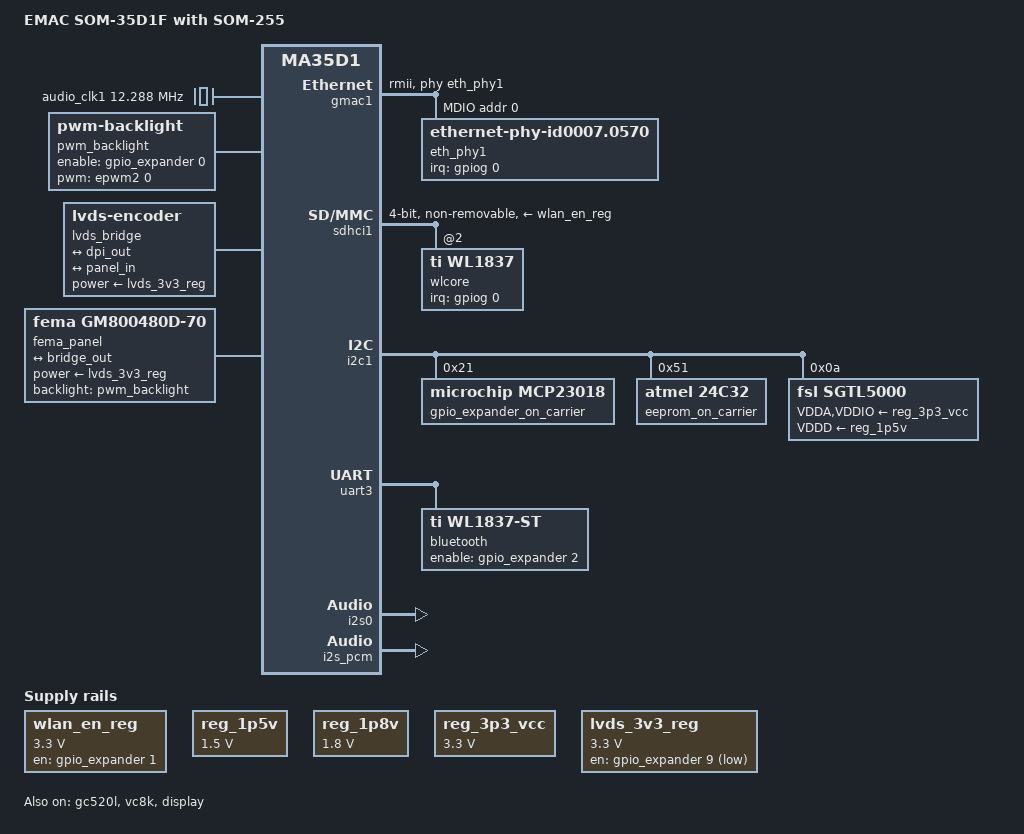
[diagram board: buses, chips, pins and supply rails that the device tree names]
// SPDX-License-Identifier: GPL-2.0-or-later
/*
 * som-35d1f-2xx.dts - Device Tree file for the SOM-35D1F w/ 2xx EMAC Carriers.
 *
 * Copyright (C) 2023 EMAC Inc.
 *
 */

/dts-v1/;
#include "som35d1f.dtsi"


/*
 remove the panel that they have upstream its driver is setup for compatible = "avic,tm070ddh03", "panel-dpi";
 so we delete and create the fema_panel below
 https://github.com/OpenNuvoton/MA35D1_linux-6.6.y/blob/master/arch/arm64/boot/dts/nuvoton/ma35d1.dtsi#L1733
*/
/delete-node/ &panel;

/ {
	model = "EMAC SOM-35D1F with SOM-255";
	compatible = "emac,som35d1f", "nuvoton,ma35d1";

	reserved-memory {
		display_buf: display_buf@0 {
			compatible = "shared-dma-pool";
			reg = <0x0 0x8C800000 0x0 0x3000000>; /* 48MiB */
			no-map;
		};
		vc8k_buf: vc8k_buf@0 {
			reg = <0x0 0x8A800000 0x0 0x2000000>; /* 32MiB */
			no-map;
		};
		gc520l_buf: gc520l_buf@0 {
			reg = <0x0 0x8A000000 0x0 0x800000>; /* 8MiB */
			no-map;
		};
		rproc_buf: rproc_buf@0 {
			reg = <0x0 0x80020000 0x0 0x60000>; /* 384KB */
			no-map;
		};
	};

	wlan_en_reg: fixedregulator {
		compatible = "regulator-fixed";
		regulator-name = "wlan-en-regulator";
		regulator-min-microvolt = <3300000>;
		regulator-max-microvolt = <3300000>;
		startup-delay-us = <70000>;
		gpio = <&gpio_expander 1 GPIO_ACTIVE_HIGH>;
		enable-active-high;
	};

	reg_1p5v: regulator0 {
		compatible = "regulator-fixed";
		regulator-name = "fixed-1.5V";
		regulator-min-microvolt = <1500000>;
		regulator-max-microvolt = <1500000>;
		regulator-boot-on;
		regulator-always-on;
	};

	reg_1p8v: regulator1 {
		compatible = "regulator-fixed";
		regulator-name = "fixed-1.8V";
		regulator-min-microvolt = <1800000>;
		regulator-max-microvolt = <1800000>;
		regulator-boot-on;
		regulator-always-on;
	};

	reg_3p3_vcc: regulator2 {
		compatible = "regulator-fixed";
		regulator-name = "fixed-3.3V";
		regulator-min-microvolt = <3300000>;
		regulator-max-microvolt = <3300000>;
		regulator-boot-on;
		regulator-always-on;
	};

	pcfg_wl1837: pcfg_wl1837 {
		slew-rate = <1>;        /* Normal slew rate (balanced speed/EMI) */
		input-schmitt-enable;   /* Enable Schmitt trigger for noise immunity */
		bias-disable;           /* No pull-up/pull-down (module handles biasing) */
		power-source = <3300>;  /* 3.3V I/O voltage (common for Bluetooth modules) */
		drive-strength = <7>;   /* Medium-high drive strength (adjust based on trace length) */
	};

	audio_clk1: audio_clk1 {
		compatible = "fixed-clock";
		#clock-cells = <0>;
		clock-frequency = <12288000>;
	};

	// The regulator for the bridge and panel.
	lvds_3v3_reg: fixedregulator {
		compatible = "regulator-fixed";
		regulator-name = "lvds-3v3-en-regulator";
		regulator-min-microvolt = <3300000>;
		regulator-max-microvolt = <3300000>;
		startup-delay-us = <70000>;
		gpio = <&gpio_expander 9 GPIO_ACTIVE_HIGH>;  // Issue this expanger lives on i2c which comes up after DRM
		// enable-active-high;
		regulator-always-on; // hack to test the regulators
		regulator-boot-on;   // hack to test the regulators
		status = "okay";
	};

	// The backlight.
	pwm_backlight: backlight {
		compatible = "pwm-backlight";
		brightness-levels = <0 1 2 3 4 5 6 7 8 9 10 11 12 13 14 15 16 17 18 19
		20 21 22 23 24 25 26 27 28 29 30 31 32 33 34 35 36 37 38 39 40 41 42
		43 44 45 46 47 48 49 50 51 52 53 54 55 56 57 58 59 60 61 62 63 64 65
		66 67 68 69 70 71 72 73 74 75 76 77 78 79 80 81 82 83 84 85 86 87 88
		89 90 91 92 93 94 95 96 97 98 99 100 101 102 103 104 105 106 107 108
		109 110 111 112 113 114 115 116 117 118 119 120 121 122 123 124 125
		126 127 128 129 130 131 132 133 134 135 136 137 138 139 140 141 142
		143 144 145 146 147 148 149 150 151 152 153 154 155 156 157 158 159
		160 161 162 163 164 165 166 167 168 169 170 171 172 173 174 175 176
		177 178 179 180 181 182 183 184 185 186 187 188 189 190 191 192 193
		194 195 196 197 198 199 200 201 202 203 204 205 206 207 208 209 210
		211 212 213 214 215 216 217 218 219 220 221 222 223 224 225 226 227
		228 229 230 231 232 233 234 235 236 237 238 239 240 241 242 243 244
		245 246 247 248 249 250 251 252 253 254 255
		>;
		default-brightness-level = <128>;
		pwms = <&epwm2 0 50000>;
		enable-gpios = <&gpio_expander 0 GPIO_ACTIVE_HIGH>; // again the i2c and race
		status = "okay";
	};

	// the bridge slash endcoder
	// Ref des: U13
	// Chip: sn65lvds84aq-q1
	// Datasheet: https://www.ti.com/lit/ds/symlink/sn65lvds84aq-q1.pdf
	// Note: The SN65LVDS84AQ datasheet says the transmitter loads D0–D20 on the falling edge of CLKIN; the setup/hold table also specifies data valid before and after CLKIN↓, with 3 ns setup and 1.5 ns hold.
	lvds_bridge: bridge-lvds {
		compatible = "lvds-encoder";
		power-supply = <&lvds_3v3_reg>;
		status = "okay";
		ports {
			#address-cells = <1>;
			#size-cells = <0>;
			port@0 {
				reg = <0>;
				bridge_in: endpoint {
					remote-endpoint = <&dpi_out>;
				};
			};
			port@1 {
				reg = <1>;
				bridge_out: endpoint {
					remote-endpoint = <&panel_in>;
				};
			};
		};
	};

	// This is the gm800480d-70 That I defined in simple panel
	// Refdes: HDR6
	// Chip: Fema GM800480D-70-TTX2NLW panel
	// datasheet -> https://femaelectronics.com/wp-content/uploads/datasheet/GM800480D-70-TTX2NLW-HTL.pdf
	// NOTES: 40 pin connectror after the bridge. and where the tsc2004 comes in from i2c
	fema_panel: panel-fema {
		compatible = "fema,gm800480d-70";
		backlight = <&pwm_backlight>;
		power-supply = <&lvds_3v3_reg>;
		// data-mapping = "jedec";
		data-mapping = "jeida-18";

		status = "okay";
		port {
			panel_in: endpoint@0 {
				reg = <0>;
				remote-endpoint = <&bridge_out>;
			};
		};
	};

};

/*
 * There is no driver for this anymore sadly :( . The vendor says "Its not worth their time and effort"
 * However upstream examples still show this active(status="okay"). Might be a case for etnaviv drm if supported
*/
&gc520l {
	// @40280000
	// needs | compatible = "vivante,gc";
	// current | clocks = <&clk GFX_GATE>;
	// needs | clock-names: "core"; ?
	// needs: | power-domains = <&gpc 1>;
	// current | resets = <&reset MA35D1_RESET_GFX>;
	memory-region = <&gc520l_buf>;
	status = "okay";
};

// This driver needs to be installed correctly atm it is not...
&vc8k {
	fb_width = <800>;
	fb_height = <480>;
	memory-region = <&vc8k_buf>;
	status = "okay";
};

&display {
	memory-region = <&display_buf>;
	// OPTIONS:  0: D16CFG1, 1: D16CFG2, 2: D16CFG3, 3: D18CFG1, 4: D18CFG2, 5: D24
	// WHY: This is custom to set the DPI format as the vendors driver was hardcoded to D24
	nuvoton,dpi-format = <4>;
	status = "okay";
	port {
		// Why delete node
		// Upstream went stright to a DPI panel.  We need to go to the bridge then the panel.
		// for the bridge in and new panel we delete the endpoint and add ours
		/delete-node/ endpoint@0;
		dpi_out: endpoint@0 {
			reg = <0>;
			remote-endpoint = <&bridge_in>;
		};
	};
};

&gmac1 {
	status = "okay";
	pinctrl-names = "default";
	pinctrl-0 = <&pinctrl_gmac1>;
	phy-mode = "rmii";
	phy-handle = <&eth_phy1>;
	emac-phy-reset = <&gpio_expander_on_carrier 10 GPIO_ACTIVE_HIGH>;
	mdio1: mdio{
		compatible = "snps,dwmac-mdio";
		#address-cells = <1>;
		#size-cells = <0>;
		eth_phy1: ethernet-phy@1{
			compatible = "ethernet-phy-id0007.0570";
			vsc8531,vddmac = <3300>;
	                vsc8531,edge-slowdown = <7>;
			interrupts-extended = <&gpiog 0 IRQ_TYPE_EDGE_FALLING>;
			reg = <0>;
		};
	};
};

&sdhci1 {
	pinctrl-names = "default";
	pinctrl-0 = <&pinctrl_wl1837 &pinctrl_wl1837_int>;
	status = "okay";
	/delete-property/ cd-gpios;
	disable-wp;
	vmmc-supply = <&wlan_en_reg>;
	bus-width = <4>;
	non-removable;
	cap-power-off-card;
	keep-power-in-suspend;
	no-1-8-v;
	#address-cells = <1>;
	#size-cells = <0>;

	wlcore: wlcore@2 {
		compatible = "ti,wl1837";
		reg = <0x2>;
		interrupt-parent = <&gpiog>;
		interrupts = <0 IRQ_TYPE_EDGE_FALLING>;
	};
};

&i2c1 {
	gpio_expander_on_carrier: mirochip_gpio_expander_on_carrier@21 {
		compatible = "microchip,mcp23018";
		reg = <0x21>;
		gpio-controller;
		#gpio-cells = <2>;
		interrupt-names = "gpio_expander_on_carrier@21 irq";
	};

	//PCA9515ADP,118
	eeprom_on_carrier: eeprom@51 {
		compatible = "atmel,24c32";
		pagesize = <32>;
		reg = <0x51>;
		status = "okay";
	};

	sgtl5000: codec@0a {
		compatible = "fsl,sgtl5000";
		reg = <0x0a>;
		#sound-dai-cells = <0>;
		VDDA-supply = <&reg_3p3_vcc>;
		VDDIO-supply = <&reg_3p3_vcc>;
		VDDD-supply = <&reg_1p5v>;
		clocks = <&audio_clk1>;
		status = "okay";
	};
};

&uart3 {
	uart-has-rtscts;
	bluetooth {
		compatible = "ti,wl1837-st";
		enable-gpios = <&gpio_expander 2 GPIO_ACTIVE_HIGH>;
		/* The highest supported baud rate for SoM-35d1f */
		max-speed = <912600>;
	};
};

// Audio
&i2s0{
	status = "okay";
};

&i2s_pcm{
	status = "okay";
};

&sound {
	status = "okay";
};


&pinctrl {
	gmac1 {
		pinctrl_gmac1: gmac1grp{
			nuvoton,pins =
				<SYS_GPF_MFPL_PF0MFP_RMII1_MDC          &pcfg_emac_3_3V>,
				<SYS_GPF_MFPL_PF1MFP_RMII1_MDIO         &pcfg_emac_3_3V>,
				<SYS_GPF_MFPL_PF2MFP_RMII1_TXEN         &pcfg_emac_3_3V>,
				<SYS_GPF_MFPL_PF3MFP_RMII1_TXD0         &pcfg_emac_3_3V>,
				<SYS_GPF_MFPL_PF4MFP_RMII1_TXD1         &pcfg_emac_3_3V>,
				<SYS_GPF_MFPL_PF5MFP_RMII1_REFCLK       &pcfg_emac_3_3V>,
				<SYS_GPF_MFPL_PF6MFP_RMII1_CRSDV        &pcfg_emac_3_3V>,
				<SYS_GPF_MFPL_PF7MFP_RMII1_RXD0         &pcfg_emac_3_3V>,
				<SYS_GPF_MFPH_PF8MFP_RMII1_RXD1         &pcfg_emac_3_3V>,
				<SYS_GPF_MFPH_PF9MFP_RMII1_RXERR        &pcfg_emac_3_3V>;
		};
	};
	wifi {
		pinctrl_wl1837:wl1837grp{
			nuvoton,pins =
				<SYS_GPJ_MFPL_PJ5MFP_SD1_nCD    &pcfg_default>,
				<SYS_GPJ_MFPL_PJ6MFP_SD1_CMD    &pcfg_sdhci_drive2_3_3V>,
				<SYS_GPJ_MFPL_PJ7MFP_SD1_CLK    &pcfg_sdhci_drive2_3_3V>,
				<SYS_GPJ_MFPH_PJ8MFP_SD1_DAT0   &pcfg_sdhci_drive2_3_3V>,
				<SYS_GPJ_MFPH_PJ9MFP_SD1_DAT1   &pcfg_sdhci_drive2_3_3V>,
				<SYS_GPJ_MFPH_PJ10MFP_SD1_DAT2  &pcfg_sdhci_drive2_3_3V>,
				<SYS_GPJ_MFPH_PJ11MFP_SD1_DAT3  &pcfg_sdhci_drive2_3_3V>;
		};
		pinctrl_wl1837_int:wl1837grp_int{
			nuvoton,pins =
				<SYS_GPG_MFPL_PG0MFP_GPIO    &pcfg_default>;
		};
	};
	uart3 {
		pinctrl_uart3: uartgrp3{
			nuvoton,pins =
				<SYS_GPA_MFPL_PA4MFP_UART3_nCTS     &pcfg_wl1837>,
				<SYS_GPA_MFPL_PA5MFP_UART3_nRTS     &pcfg_wl1837>,
				<SYS_GPA_MFPL_PA6MFP_UART3_RXD      &pcfg_wl1837>,
				<SYS_GPA_MFPL_PA7MFP_UART3_TXD      &pcfg_wl1837>;
		};
	};
};

